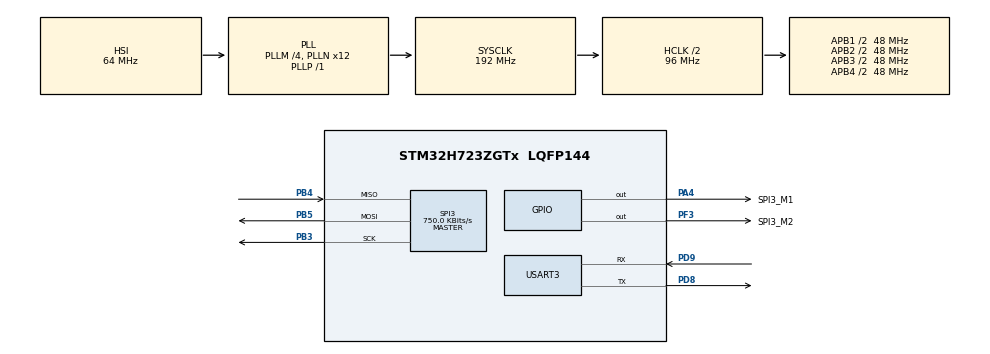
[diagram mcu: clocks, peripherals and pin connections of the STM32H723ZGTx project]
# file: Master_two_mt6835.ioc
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Mcu.Family=STM32H7
Mcu.Name=STM32H723ZGTx
Mcu.Package=LQFP144
NVIC.PriorityGroup=NVIC_PRIORITYGROUP_4
NVIC.SPI3_IRQn=true\:0\:0\:false\:false\:true\:true\:true\:true
PA4.GPIO_Label=SPI3_M1
PA4.PinState=GPIO_PIN_SET
PA4.Signal=GPIO_Output
PB3(JTDO/TRACESWO).Mode=Full_Duplex_Master
PB3(JTDO/TRACESWO).Signal=SPI3_SCK
PB4(NJTRST).Mode=Full_Duplex_Master
PB4(NJTRST).Signal=SPI3_MISO
PB5.Mode=Full_Duplex_Master
PB5.Signal=SPI3_MOSI
PD8.Mode=Asynchronous
PD8.Signal=USART3_TX
PD9.Mode=Asynchronous
PD9.Signal=USART3_RX
PF3.GPIO_Label=SPI3_M2
PF3.PinState=GPIO_PIN_SET
PF3.Signal=GPIO_Output
ProjectManager.HeapSize=0x200
ProjectManager.StackSize=0x400
ProjectManager.TargetToolchain=STM32CubeIDE
RCC.ADCFreq_Value=608000000
RCC.APB1Freq_Value=48000000
RCC.APB2Freq_Value=48000000
RCC.APB3Freq_Value=48000000
RCC.APB4Freq_Value=48000000
RCC.CortexFreq_Value=192000000
RCC.D1PPRE=RCC_APB3_DIV2
RCC.D2PPRE1=RCC_APB1_DIV2
RCC.D2PPRE2=RCC_APB2_DIV2
RCC.D3PPRE=RCC_APB4_DIV2
RCC.DIVM1=4
RCC.DIVM2=1
RCC.DIVN1=12
RCC.DIVN2=19
RCC.DIVP1=1
RCC.DIVQ1=4
RCC.HCLKFreq_Value=96000000
RCC.HPRE=RCC_HCLK_DIV2
RCC.HSE_VALUE=8000000
RCC.PLLFRACN=0
RCC.SYSCLKFreq_VALUE=192000000
RCC.SYSCLKSource=RCC_SYSCLKSOURCE_PLLCLK
RCC.USBCLockSelection=RCC_USBCLKSOURCE_HSI48
RCC.USBFreq_Value=48000000
SPI3.BaudRatePrescaler=SPI_BAUDRATEPRESCALER_64
SPI3.CLKPhase=SPI_PHASE_2EDGE
SPI3.CLKPolarity=SPI_POLARITY_HIGH
SPI3.CalculateBaudRate=750.0 KBits/s
SPI3.DataSize=SPI_DATASIZE_8BIT
SPI3.Direction=SPI_DIRECTION_2LINES
SPI3.Mode=SPI_MODE_MASTER
SPI3.VirtualType=VM_MASTER
USART3.VirtualMode-Asynchronous=VM_ASYNC
VP_MEMORYMAP_VS_MEMORYMAP.Mode=CurAppReg
board=NUCLEO-H723ZG

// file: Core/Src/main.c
/* USER CODE BEGIN Header */
/**
 ******************************************************************************
 * @file           : main.c
 * @brief          : Main program body
 ******************************************************************************
 * @attention
 *
 * Copyright (c) 2025 STMicroelectronics.
 * All rights reserved.
 *
 * This software is licensed under terms that can be found in the LICENSE file
 * in the root directory of this software component.
 * If no LICENSE file comes with this software, it is provided AS-IS.
 *
 ******************************************************************************
 */
/* USER CODE END Header */
#include "main.h"
#include "memorymap.h"
#include "spi.h"
#include "usart.h"
#include "gpio.h"

/* USER CODE BEGIN Includes */
#include "mt6835.h" // MT6835 驱�?�头�?件
#include "string.h"
#include "stdio.h"
/* USER CODE END Includes */

void SystemClock_Config(void);

/* USER CODE BEGIN 0 */
int _write(int file, char *ptr, int len) {
	HAL_UART_Transmit(&huart3, (uint8_t*) ptr, len, HAL_MAX_DELAY);
	return len;
}

#define SPI_INSTANCE hspi3             // SPI3
//#define SPI_CS       SPI3_M1_Pin       // STM32CubeMX �?�??�?? CS 引�??
//#define SPI_CS_PORT  SPI3_M1_GPIO_Port // STM32CubeMX �?�??�?? CS 端�?�

#define SPI_M1_CS       SPI3_M1_Pin       // CS M1
#define SPI_M1_CS_PORT  SPI3_M1_GPIO_Port //
#define SPI_M2_CS       SPI3_M2_Pin       // CS M2
#define SPI_M2_CS_PORT  SPI3_M2_GPIO_Port //

static void mt6835_cs_control(mt6835_cs_state_enum_t state) {
	if (state == MT6835_CS_HIGH) {
		// 高电平
		HAL_GPIO_WritePin(SPI_M1_CS_PORT, SPI_M1_CS, GPIO_PIN_SET);
	} else {
		// 低电平
		HAL_GPIO_WritePin(SPI_M1_CS_PORT, SPI_M1_CS, GPIO_PIN_RESET);
	}
}

static void mt6835_cs2_control(mt6835_cs_state_enum_t state) {
	if (state == MT6835_CS_HIGH) {
		// 高电平
		HAL_GPIO_WritePin(SPI_M2_CS_PORT, SPI_M2_CS, GPIO_PIN_SET);
	} else {
		// 低电平
		HAL_GPIO_WritePin(SPI_M2_CS_PORT, SPI_M2_CS, GPIO_PIN_RESET);
	}
}

static void mt6835_spi_send_recv(uint8_t *tx_buf, uint8_t *rx_buf, uint8_t len) {
	HAL_StatusTypeDef status = HAL_OK;
	status = HAL_SPI_TransmitReceive_IT(&SPI_INSTANCE, tx_buf, rx_buf, len);
	if (status != HAL_OK) {
		printf("spi send_recv failed %d\n\r", status);
		return;
	}
	// wait IT
	uint32_t tickstart = HAL_GetTick();
	while (HAL_SPI_GetState(&SPI_INSTANCE) != HAL_SPI_STATE_READY) {
		if (HAL_GetTick() - tickstart > 1) {
			printf("spi send_recv timeout\n\r");
			return;
		}
	}
}

uint32_t raw_angle_1 = 0, raw_angle_2 = 0;
float radian_angle_1 = 0.0f, radian_angle_2 = 0.0f;
float degree_angle_1 = 0.0f, degree_angle_2 = 0.0f;
uint8_t id_1, id_2;

/* USER CODE END 0 */

int main(void) {

	/* MCU Configuration--------------------------------------------------------*/

	/* Reset of all peripherals, Initializes the Flash interface and the Systick. */
	HAL_Init();

	/* Configure the system clock */
	SystemClock_Config();

	/* Initialize all configured peripherals */
	MX_GPIO_Init();
	MX_SPI3_Init();
	MX_USART3_UART_Init();
	/* USER CODE BEGIN 2 */
	mt6835_t *mt6835_1;
	mt6835_t *mt6835_2;

	mt6835_1 = mt6835_create();
	mt6835_2 = mt6835_create();

	mt6835_link_spi_cs_control(mt6835_1, mt6835_cs_control);
	mt6835_link_spi_cs_control(mt6835_2, mt6835_cs2_control);

	mt6835_link_spi_send_recv(mt6835_1, mt6835_spi_send_recv);
	mt6835_link_spi_send_recv(mt6835_2, mt6835_spi_send_recv);

	mt6835_enable_crc_check(mt6835_1);
	mt6835_enable_crc_check(mt6835_2);

	/*
	 *for change/show id
	 *mt6835_set_id(mt6835_1, 0x00); // 写入 ID 0xDA 到寄存器，只在寄存器，断电消失
	 *HAL_Delay(1);
	 *uint8_t id = mt6835_get_id(mt6835_1); // 读取 ID
	 *printf("id: 0x%x\r\n", id);
	 *		id_1 = mt6835_get_id(mt6835_1);
	 if (id_1 != 0xFF) { // ตรวจสอบว่า id_1 ไม่ใช่ค่า 0xFF ซึ่งอาจบ่งบอกถึงข้อผิดพลาด
	 printf("id 1: %2X\n", id_1);
	 } else {
	 printf("Error reading id 1\n");
	 }

	 id_2 = mt6835_get_id(mt6835_2);
	 if (id_2 != 0xFF) {
	 printf("id 2: %2X\n", id_2);
	 } else {
	 printf("Error reading id 2\n");
	 }
	 */

	// mt6835_disable_crc_check(mt6835_1);    // Disable CRC Check in 1
	// mt6835_disable_crc_check(mt6835_2);    // Disable CRC Check in 2
	/* USER CODE END 2 */

	/* Infinite loop */
	/* USER CODE BEGIN WHILE */
	while (1) {
		//raw_angle = mt6835_get_raw_angle(mt6835,
		//MT6835_READ_ANGLE_METHOD_BURST);
		//radian_angle = raw_angle * (M_PI * 2.0f) / MT6835_ANGLE_RESOLUTION;
		//degree_angle = raw_angle * (360.0f / MT6835_ANGLE_RESOLUTION);
		//radian_angle = mt6835_get_angle(motor1_mt6835, MT6835_READ_ANGLE_METHOD_BURST);
		//if (!mt6835->crc_res) {
		//	printf("crc error\n\r");
		//}
		//printf("raw_angle: %lu, radian_angle: %.6f, degree_angle: %.2f°\n\r",
		//raw_angle, radian_angle, degree_angle);
		//HAL_Delay(500);

		/* for Burst mode*/
		// Select CS1 for MT6835 1 and read angle
		raw_angle_1 = mt6835_get_raw_angle(mt6835_1,MT6835_READ_ANGLE_METHOD_NORMAL);
			//	MT6835_READ_ANGLE_METHOD_BURST);
		radian_angle_1 = raw_angle_1 * (M_PI * 2.0f) / MT6835_ANGLE_RESOLUTION;
		degree_angle_1 = raw_angle_1 * (360.0f / MT6835_ANGLE_RESOLUTION);

		// Select CS2 for MT6835 2 and read angle
		raw_angle_2 = mt6835_get_raw_angle(mt6835_2,MT6835_READ_ANGLE_METHOD_NORMAL);
		//MT6835_READ_ANGLE_METHOD_BURST);
		radian_angle_2 = raw_angle_2 * (M_PI * 2.0f) / MT6835_ANGLE_RESOLUTION;
		degree_angle_2 = raw_angle_2 * (360.0f / MT6835_ANGLE_RESOLUTION);

		// Check CRC for both sensors
		if (!mt6835_1->crc_res) {
			printf("CRC error on MT6835 1\n\r");
		}
		if (!mt6835_2->crc_res) {
			printf("CRC error on MT6835 2\n\r");
		}

		printf("Raw Angle 1: %lu, Radian 1: %f, degree_angle1: %.2f deg\n\r",
				raw_angle_1, radian_angle_1, degree_angle_1);

		printf("Raw Angle 2: %lu, Radian 2: %f, degree_angle2: %.2f deg\n\r",
				raw_angle_2, radian_angle_2, degree_angle_2);

		HAL_Delay(500);
		/* USER CODE END WHILE */

	}
}

void SystemClock_Config(void) {
	RCC_OscInitTypeDef RCC_OscInitStruct = { 0 };
	RCC_ClkInitTypeDef RCC_ClkInitStruct = { 0 };

	/** Supply configuration update enable
	 */
	HAL_PWREx_ConfigSupply(PWR_LDO_SUPPLY);

	/** Configure the main internal regulator output voltage
	 */
	__HAL_PWR_VOLTAGESCALING_CONFIG(PWR_REGULATOR_VOLTAGE_SCALE2);

	while (!__HAL_PWR_GET_FLAG(PWR_FLAG_VOSRDY)) {
	}

	/** Initializes the RCC Oscillators according to the specified parameters
	 * in the RCC_OscInitTypeDef structure.
	 */
	RCC_OscInitStruct.OscillatorType = RCC_OSCILLATORTYPE_HSI;
	RCC_OscInitStruct.HSIState = RCC_HSI_DIV1;
	RCC_OscInitStruct.HSICalibrationValue = 64;
	RCC_OscInitStruct.PLL.PLLState = RCC_PLL_ON;
	RCC_OscInitStruct.PLL.PLLSource = RCC_PLLSOURCE_HSI;
	RCC_OscInitStruct.PLL.PLLM = 4;
	RCC_OscInitStruct.PLL.PLLN = 12;
	RCC_OscInitStruct.PLL.PLLP = 1;
	RCC_OscInitStruct.PLL.PLLQ = 4;
	RCC_OscInitStruct.PLL.PLLR = 2;
	RCC_OscInitStruct.PLL.PLLRGE = RCC_PLL1VCIRANGE_3;
	RCC_OscInitStruct.PLL.PLLVCOSEL = RCC_PLL1VCOWIDE;
	RCC_OscInitStruct.PLL.PLLFRACN = 0;
	if (HAL_RCC_OscConfig(&RCC_OscInitStruct) != HAL_OK) {
		Error_Handler();
	}

	/** Initializes the CPU, AHB and APB buses clocks
	 */
	RCC_ClkInitStruct.ClockType = RCC_CLOCKTYPE_HCLK | RCC_CLOCKTYPE_SYSCLK
			| RCC_CLOCKTYPE_PCLK1 | RCC_CLOCKTYPE_PCLK2 | RCC_CLOCKTYPE_D3PCLK1
			| RCC_CLOCKTYPE_D1PCLK1;
	RCC_ClkInitStruct.SYSCLKSource = RCC_SYSCLKSOURCE_PLLCLK;
	RCC_ClkInitStruct.SYSCLKDivider = RCC_SYSCLK_DIV1;
	RCC_ClkInitStruct.AHBCLKDivider = RCC_HCLK_DIV2;
	RCC_ClkInitStruct.APB3CLKDivider = RCC_APB3_DIV2;
	RCC_ClkInitStruct.APB1CLKDivider = RCC_APB1_DIV2;
	RCC_ClkInitStruct.APB2CLKDivider = RCC_APB2_DIV2;
	RCC_ClkInitStruct.APB4CLKDivider = RCC_APB4_DIV2;

	if (HAL_RCC_ClockConfig(&RCC_ClkInitStruct, FLASH_LATENCY_1) != HAL_OK) {
		Error_Handler();
	}
}

void Error_Handler(void) {
	__disable_irq();
	while (1) {
	}
}
